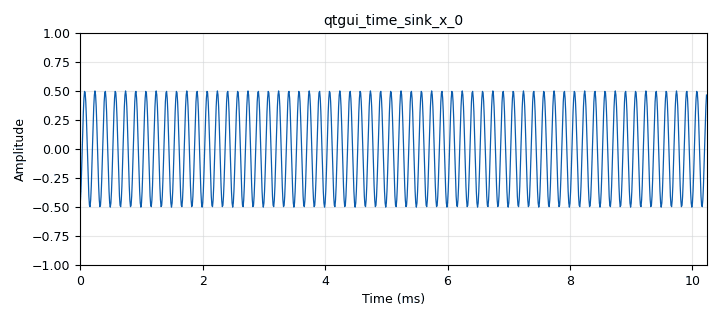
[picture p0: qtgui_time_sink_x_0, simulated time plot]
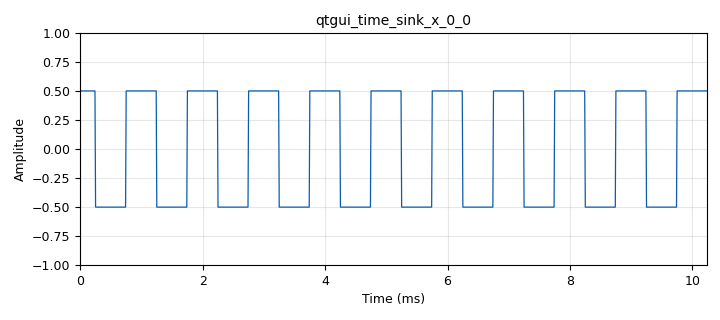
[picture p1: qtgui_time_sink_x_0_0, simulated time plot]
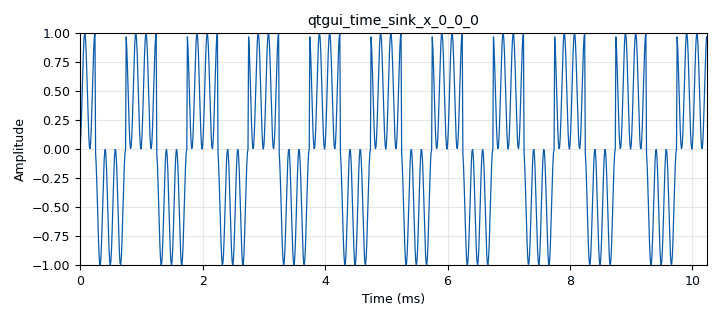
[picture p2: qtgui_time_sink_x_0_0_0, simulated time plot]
options:
  parameters:
    generate_options: qt_gui
    id: add
    output_language: python
    title: Not titled yet
  states: {}

blocks:
- name: F
  id: variable_qtgui_range
  parameters:
    label: '"Signal frequency, Hz"'
    orient: Qt.Horizontal
    start: '1'
    step: '1'
    stop: samp_rate/2
    value: 1e3
  states: {}
- name: const
  id: variable_qtgui_range
  parameters:
    orient: Qt.Horizontal
    start: '0'
    step: '0.001'
    stop: '10'
    value: '1'
  states: {}
- name: samp_rate
  id: variable
  parameters:
    value: 100e3
  states: {}
- name: analog_sig_source_x_0
  id: analog_sig_source_x
  parameters:
    amp: '0.5'
    freq: 6*F
    offset: '0'
    phase: '0'
    samp_rate: samp_rate
    type: float
    waveform: analog.GR_COS_WAVE
  states: {}
- name: analog_sig_source_x_0_0
  id: analog_sig_source_x
  parameters:
    amp: '1'
    freq: F
    offset: '-0.5'
    phase: '0'
    samp_rate: samp_rate
    type: float
    waveform: analog.GR_SQR_WAVE
  states: {}
- name: epy_block_0
  id: epy_block
  parameters:
    _source_code: |
      """
      Embedded Python Blocks:

      Each time this file is saved, GRC will instantiate the first class it finds
      to get ports and parameters of your block. The arguments to __init__  will
      be the parameters. All of them are required to have default values!
      """

      import numpy as np
      from gnuradio import gr


      class blk(gr.sync_block):  # other base classes are basic_block, decim_block, interp_block
          """Embedded Python Block example - a simple multiply const"""

          def __init__(self):  # only default arguments here
              """arguments to this function show up as parameters in GRC"""
              gr.sync_block.__init__(
                  self,
                  name='Custom Add Block Float',   # will show up in GRC
                  in_sig=[np.float32, np.float32],
                  out_sig=[np.float32]
              )

          def work(self, input_items, output_items):
              """example: multiply with constant"""
              #print("length of input vector =" + str(len(input_items[0])))
              #print("length of output vector ="+ str(len(output_items[0])))
              output_items[0][:] = input_items[0][:] + input_items[1][:]
              return len(output_items[0])
  states: {}
- name: qtgui_time_sink_x_0
  id: qtgui_time_sink_x
  parameters:
    size: '1024'
    srate: samp_rate
    type: float
  states: {}
- name: qtgui_time_sink_x_0_0
  id: qtgui_time_sink_x
  parameters:
    size: '1024'
    srate: samp_rate
    type: float
  states: {}
- name: qtgui_time_sink_x_0_0_0
  id: qtgui_time_sink_x
  parameters:
    size: '1024'
    srate: samp_rate
    type: float
  states: {}

connections:
- [analog_sig_source_x_0, '0', epy_block_0, '0']
- [analog_sig_source_x_0, '0', qtgui_time_sink_x_0, '0']
- [analog_sig_source_x_0_0, '0', epy_block_0, '1']
- [analog_sig_source_x_0_0, '0', qtgui_time_sink_x_0_0, '0']
- [epy_block_0, '0', qtgui_time_sink_x_0_0_0, '0']

metadata:
  file_format: 1
